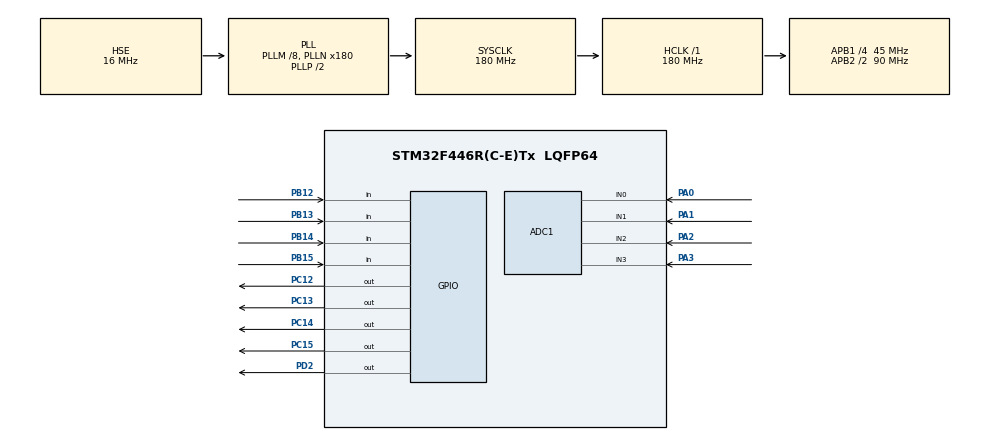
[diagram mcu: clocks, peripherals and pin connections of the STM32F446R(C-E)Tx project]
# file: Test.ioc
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ADC1.Channel-0\#ChannelRegularConversion=ADC_CHANNEL_0
ADC1.Channel-1\#ChannelRegularConversion=ADC_CHANNEL_1
ADC1.Channel-2\#ChannelRegularConversion=ADC_CHANNEL_2
ADC1.Channel-3\#ChannelRegularConversion=ADC_CHANNEL_3
ADC1.ClockPrescaler=ADC_CLOCK_SYNC_PCLK_DIV4
ADC1.DMAContinuousRequests=ENABLE
ADC1.ExternalTrigConv=ADC_EXTERNALTRIGCONV_T8_TRGO
ADC1.NbrOfConversion=4
ADC1.NbrOfConversionFlag=1
ADC1.Rank-0\#ChannelRegularConversion=1
ADC1.Rank-1\#ChannelRegularConversion=2
ADC1.Rank-2\#ChannelRegularConversion=3
ADC1.Rank-3\#ChannelRegularConversion=4
ADC1.SamplingTime-0\#ChannelRegularConversion=ADC_SAMPLETIME_15CYCLES
ADC1.SamplingTime-1\#ChannelRegularConversion=ADC_SAMPLETIME_15CYCLES
ADC1.SamplingTime-2\#ChannelRegularConversion=ADC_SAMPLETIME_15CYCLES
ADC1.SamplingTime-3\#ChannelRegularConversion=ADC_SAMPLETIME_15CYCLES
ADC1.ScanConvMode=ENABLE
ADC1.master=1
Dma.ADC1.0.Direction=DMA_PERIPH_TO_MEMORY
Dma.ADC1.0.FIFOMode=DMA_FIFOMODE_DISABLE
Dma.ADC1.0.Instance=DMA2_Stream0
Dma.ADC1.0.MemDataAlignment=DMA_MDATAALIGN_WORD
Dma.ADC1.0.MemInc=DMA_MINC_ENABLE
Dma.ADC1.0.Mode=DMA_CIRCULAR
Dma.ADC1.0.PeriphDataAlignment=DMA_PDATAALIGN_WORD
Dma.ADC1.0.PeriphInc=DMA_PINC_DISABLE
Dma.ADC1.0.Priority=DMA_PRIORITY_LOW
Dma.Request0=ADC1
Mcu.Family=STM32F4
Mcu.Name=STM32F446R(C-E)Tx
Mcu.Package=LQFP64
NVIC.ADC_IRQn=true\:0\:0\:false\:false\:true\:true\:true\:true
NVIC.DMA2_Stream0_IRQn=true\:0\:0\:false\:false\:true\:false\:true\:true
NVIC.PriorityGroup=NVIC_PRIORITYGROUP_4
NVIC.TIM8_UP_TIM13_IRQn=true\:0\:0\:false\:false\:true\:true\:true\:true
PA0-WKUP.Signal=ADCx_IN0
PA1.Signal=ADCx_IN1
PA13.Mode=Serial_Wire
PA13.Signal=SYS_JTMS-SWDIO
PA14.Mode=Serial_Wire
PA14.Signal=SYS_JTCK-SWCLK
PA2.Signal=ADCx_IN2
PA3.Signal=ADCx_IN3
PB12.Signal=GPIO_Input
PB13.Signal=GPIO_Input
PB14.Signal=GPIO_Input
PB15.Signal=GPIO_Input
PC12.Signal=GPIO_Output
PC13.Signal=GPIO_Output
PC14-OSC32_IN.Signal=GPIO_Output
PC15-OSC32_OUT.Signal=GPIO_Output
PD2.Signal=GPIO_Output
PH0-OSC_IN.Mode=HSE-External-Oscillator
PH0-OSC_IN.Signal=RCC_OSC_IN
PH1-OSC_OUT.Mode=HSE-External-Oscillator
PH1-OSC_OUT.Signal=RCC_OSC_OUT
ProjectManager.HeapSize=0x200
ProjectManager.StackSize=0x400
ProjectManager.TargetToolchain=STM32CubeIDE
RCC.AHBFreq_Value=180000000
RCC.APB1CLKDivider=RCC_HCLK_DIV4
RCC.APB1Freq_Value=45000000
RCC.APB1TimFreq_Value=90000000
RCC.APB2CLKDivider=RCC_HCLK_DIV2
RCC.APB2Freq_Value=90000000
RCC.APB2TimFreq_Value=180000000
RCC.CortexFreq_Value=180000000
RCC.HCLKFreq_Value=180000000
RCC.HSE_VALUE=16000000
RCC.PLLM=8
RCC.PLLN=180
RCC.PLLSourceVirtual=RCC_PLLSOURCE_HSE
RCC.SYSCLKFreq_VALUE=180000000
RCC.SYSCLKSource=RCC_SYSCLKSOURCE_PLLCLK
RCC.USBFreq_Value=180000000
RCC.VCOOutputFreq_Value=360000000
SH.ADCx_IN0.0=ADC1_IN0,IN0
SH.ADCx_IN1.0=ADC1_IN1,IN1
SH.ADCx_IN2.0=ADC1_IN2,IN2
SH.ADCx_IN3.0=ADC1_IN3,IN3
TIM8.Period=10000-1
TIM8.Prescaler=180-1
TIM8.TIM_MasterOutputTrigger=TIM_TRGO_UPDATE
VP_TIM8_VS_ClockSourceINT.Mode=Internal
board=custom

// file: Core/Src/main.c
/* USER CODE BEGIN Header */
/**
 ******************************************************************************
 * @file           : main.c
 * @brief          : Main program body
 ******************************************************************************
 * @attention
 *
 * Copyright (c) 2024 STMicroelectronics.
 * All rights reserved.
 *
 * This software is licensed under terms that can be found in the LICENSE file
 * in the root directory of this software component.
 * If no LICENSE file comes with this software, it is provided AS-IS.
 *
 ******************************************************************************
 */
/* USER CODE END Header */
#include "main.h"
#include "adc.h"
#include "dma.h"
#include "tim.h"
#include "gpio.h"

/* USER CODE BEGIN PV */
uint32_t adcl_buffer[4] = {0, };
uint32_t readPin12 = 100;
uint32_t readPin13 = 100;
uint32_t readPin14 = 100;
uint32_t readPin15 = 100;
//uint32_t hadcl;
/* USER CODE END PV */

void SystemClock_Config(void);

int main(void)
{

	/* MCU Configuration--------------------------------------------------------*/

	/* Reset of all peripherals, Initializes the Flash interface and the Systick. */
	HAL_Init();

	/* Configure the system clock */
	SystemClock_Config();

	/* Initialize all configured peripherals */
	MX_GPIO_Init();
	MX_DMA_Init();
	MX_ADC1_Init();
	MX_TIM8_Init();
	/* USER CODE BEGIN 2 */
	HAL_GPIO_WritePin(GPIOC, GPIO_PIN_12, 1);
	HAL_GPIO_WritePin(GPIOC, GPIO_PIN_13, 1);
	HAL_GPIO_WritePin(GPIOC, GPIO_PIN_14, 1);
	HAL_GPIO_WritePin(GPIOC, GPIO_PIN_15, 1);
	//HAL_TIM_Base_Start_IT(&htim8);
	//HAL_ADC_Start_DMA(&hadcl, adcl_buffer, 4);
	/* USER CODE END 2 */

	/* Infinite loop */
	while (1)
	{

		/* USER CODE BEGIN 3 */
		readPin12 = HAL_GPIO_ReadPin(GPIOB, GPIO_PIN_12);
		readPin13 = HAL_GPIO_ReadPin(GPIOB, GPIO_PIN_13);
		readPin14 = HAL_GPIO_ReadPin(GPIOB, GPIO_PIN_14);
		readPin15 = HAL_GPIO_ReadPin(GPIOB, GPIO_PIN_15);
		if(readPin12 == 0)
		{
			if(readPin13 == 1)
			{
				if(readPin14 == 0)
				{
					if(readPin15 == 1)
					{
						HAL_GPIO_TogglePin(GPIOD, GPIO_PIN_2);
						HAL_Delay(300);
						HAL_GPIO_WritePin(GPIOC, GPIO_PIN_12, 1);
						HAL_GPIO_WritePin(GPIOC, GPIO_PIN_13, 1);
						HAL_GPIO_WritePin(GPIOC, GPIO_PIN_14, 1);
						HAL_GPIO_WritePin(GPIOC, GPIO_PIN_15, 1);
						HAL_GPIO_WritePin(GPIOC, GPIO_PIN_14, 0);
						HAL_Delay(300);
						HAL_GPIO_WritePin(GPIOC, GPIO_PIN_14, 1);
						HAL_Delay(300);
						HAL_GPIO_WritePin(GPIOC, GPIO_PIN_12, 0);
						HAL_Delay(300);
						HAL_GPIO_WritePin(GPIOC, GPIO_PIN_12, 1);
						HAL_Delay(300);
					}
					else if(readPin15 == 0)
					{
						HAL_GPIO_WritePin(GPIOD, GPIO_PIN_2, 0);
						HAL_GPIO_WritePin(GPIOC, GPIO_PIN_12, 1);
						HAL_GPIO_WritePin(GPIOC, GPIO_PIN_13, 1);
						HAL_GPIO_WritePin(GPIOC, GPIO_PIN_14, 1);
						HAL_GPIO_WritePin(GPIOC, GPIO_PIN_15, 1);
						HAL_GPIO_WritePin(GPIOC, GPIO_PIN_14, 0);
						HAL_Delay(300);
						HAL_GPIO_WritePin(GPIOC, GPIO_PIN_14, 1);
						HAL_Delay(300);
						HAL_GPIO_WritePin(GPIOC, GPIO_PIN_12, 0);
						HAL_Delay(300);
						HAL_GPIO_WritePin(GPIOC, GPIO_PIN_12, 1);
						HAL_Delay(300);
					}

				}
				else if(readPin14 == 1)
				{
					if(readPin15 == 1)
					{
						HAL_GPIO_TogglePin(GPIOD, GPIO_PIN_2);
						HAL_Delay(300);
						HAL_GPIO_WritePin(GPIOC, GPIO_PIN_15, 0);
						HAL_Delay(300);
						HAL_GPIO_WritePin(GPIOC, GPIO_PIN_15, 1);
						HAL_Delay(300);
						HAL_GPIO_WritePin(GPIOC, GPIO_PIN_14, 0);
						HAL_Delay(300);
						HAL_GPIO_WritePin(GPIOC, GPIO_PIN_14, 1);
						HAL_Delay(300);
						HAL_GPIO_WritePin(GPIOC, GPIO_PIN_13, 0);
						HAL_Delay(300);
						HAL_GPIO_WritePin(GPIOC, GPIO_PIN_13, 1);
						HAL_Delay(300);
						HAL_GPIO_WritePin(GPIOC, GPIO_PIN_12, 0);
						HAL_Delay(300);
						HAL_GPIO_WritePin(GPIOC, GPIO_PIN_12, 1);
						HAL_Delay(300);
					}
					else if(readPin15 == 0)
					{
						HAL_GPIO_WritePin(GPIOD, GPIO_PIN_2, 0);
						HAL_GPIO_WritePin(GPIOC, GPIO_PIN_15, 0);
						HAL_Delay(300);
						HAL_GPIO_WritePin(GPIOC, GPIO_PIN_15, 1);
						HAL_Delay(300);
						HAL_GPIO_WritePin(GPIOC, GPIO_PIN_14, 0);
						HAL_Delay(300);
						HAL_GPIO_WritePin(GPIOC, GPIO_PIN_14, 1);
						HAL_Delay(300);
						HAL_GPIO_WritePin(GPIOC, GPIO_PIN_13, 0);
						HAL_Delay(300);
						HAL_GPIO_WritePin(GPIOC, GPIO_PIN_13, 1);
						HAL_Delay(300);
						HAL_GPIO_WritePin(GPIOC, GPIO_PIN_12, 0);
						HAL_Delay(300);
						HAL_GPIO_WritePin(GPIOC, GPIO_PIN_12, 1);
						HAL_Delay(300);
					}

				}
			}
			else if(readPin13 == 0)
			{
				if(readPin14 == 0)
				{
					if(readPin15 == 1)
					{
						HAL_GPIO_TogglePin(GPIOD, GPIO_PIN_2);
						HAL_Delay(300);
						HAL_GPIO_WritePin(GPIOC, GPIO_PIN_12, 0);
						HAL_GPIO_WritePin(GPIOC, GPIO_PIN_13, 0);
						HAL_GPIO_WritePin(GPIOC, GPIO_PIN_14, 0);
						HAL_GPIO_WritePin(GPIOC, GPIO_PIN_15, 0);
						HAL_GPIO_WritePin(GPIOC, GPIO_PIN_14, 1);
						HAL_Delay(300);
						HAL_GPIO_WritePin(GPIOC, GPIO_PIN_14, 0);
						HAL_Delay(300);
						HAL_GPIO_WritePin(GPIOC, GPIO_PIN_12, 1);
						HAL_Delay(300);
						HAL_GPIO_WritePin(GPIOC, GPIO_PIN_12, 0);
						HAL_Delay(300);
					}
					else if(readPin15 == 0)
					{
						HAL_GPIO_WritePin(GPIOD, GPIO_PIN_2, 0);
						HAL_GPIO_WritePin(GPIOC, GPIO_PIN_12, 0);
						HAL_GPIO_WritePin(GPIOC, GPIO_PIN_13, 0);
						HAL_GPIO_WritePin(GPIOC, GPIO_PIN_14, 0);
						HAL_GPIO_WritePin(GPIOC, GPIO_PIN_15, 0);
						HAL_GPIO_WritePin(GPIOC, GPIO_PIN_14, 1);
						HAL_Delay(300);
						HAL_GPIO_WritePin(GPIOC, GPIO_PIN_14, 0);
						HAL_Delay(300);
						HAL_GPIO_WritePin(GPIOC, GPIO_PIN_12, 1);
						HAL_Delay(300);
						HAL_GPIO_WritePin(GPIOC, GPIO_PIN_12, 0);
						HAL_Delay(300);
					}

				}
				else if(readPin14 == 1)
				{
					if(readPin15 == 1)
					{
						HAL_GPIO_TogglePin(GPIOD, GPIO_PIN_2);
						HAL_Delay(300);
						HAL_GPIO_WritePin(GPIOC, GPIO_PIN_15, 1);
						HAL_Delay(300);
						HAL_GPIO_WritePin(GPIOC, GPIO_PIN_15, 0);
						HAL_Delay(300);
						HAL_GPIO_WritePin(GPIOC, GPIO_PIN_14, 1);
						HAL_Delay(300);
						HAL_GPIO_WritePin(GPIOC, GPIO_PIN_14, 0);
						HAL_Delay(300);
						HAL_GPIO_WritePin(GPIOC, GPIO_PIN_13, 1);
						HAL_Delay(300);
						HAL_GPIO_WritePin(GPIOC, GPIO_PIN_13, 0);
						HAL_Delay(300);
						HAL_GPIO_WritePin(GPIOC, GPIO_PIN_12, 1);
						HAL_Delay(300);
						HAL_GPIO_WritePin(GPIOC, GPIO_PIN_12, 0);
						HAL_Delay(300);
					}
					else if(readPin15 == 0)
					{
						HAL_GPIO_WritePin(GPIOD, GPIO_PIN_2, 0);
						HAL_GPIO_WritePin(GPIOC, GPIO_PIN_15, 1);
						HAL_Delay(300);
						HAL_GPIO_WritePin(GPIOC, GPIO_PIN_15, 0);
						HAL_Delay(300);
						HAL_GPIO_WritePin(GPIOC, GPIO_PIN_14, 1);
						HAL_Delay(300);
						HAL_GPIO_WritePin(GPIOC, GPIO_PIN_14, 0);
						HAL_Delay(300);
						HAL_GPIO_WritePin(GPIOC, GPIO_PIN_13, 1);
						HAL_Delay(300);
						HAL_GPIO_WritePin(GPIOC, GPIO_PIN_13, 0);
						HAL_Delay(300);
						HAL_GPIO_WritePin(GPIOC, GPIO_PIN_12, 1);
						HAL_Delay(300);
						HAL_GPIO_WritePin(GPIOC, GPIO_PIN_12, 0);
						HAL_Delay(300);
					}

				}

			}

		}
		else if(readPin12 == 1)
		{
			if(readPin13 == 1)
			{
				if(readPin14 == 0)
				{
					if(readPin15 == 1)
					{
						HAL_GPIO_TogglePin(GPIOD, GPIO_PIN_2);
						HAL_Delay(300);
						HAL_GPIO_WritePin(GPIOD, GPIO_PIN_2, 1);
						HAL_GPIO_WritePin(GPIOC, GPIO_PIN_12, 1);
						HAL_GPIO_WritePin(GPIOC, GPIO_PIN_13, 1);
						HAL_GPIO_WritePin(GPIOC, GPIO_PIN_14, 1);
						HAL_GPIO_WritePin(GPIOC, GPIO_PIN_15, 1);
						HAL_GPIO_WritePin(GPIOC, GPIO_PIN_12, 0);
						HAL_Delay(300);
						HAL_GPIO_WritePin(GPIOC, GPIO_PIN_12, 1);
						HAL_Delay(300);
						HAL_GPIO_WritePin(GPIOC, GPIO_PIN_14, 0);
						HAL_Delay(300);
						HAL_GPIO_WritePin(GPIOC, GPIO_PIN_14, 1);
						HAL_Delay(300);
					}
					else if(readPin15 == 0)
					{
						HAL_GPIO_WritePin(GPIOD, GPIO_PIN_2, 0);
						HAL_GPIO_WritePin(GPIOC, GPIO_PIN_12, 1);
						HAL_GPIO_WritePin(GPIOC, GPIO_PIN_13, 1);
						HAL_GPIO_WritePin(GPIOC, GPIO_PIN_14, 1);
						HAL_GPIO_WritePin(GPIOC, GPIO_PIN_15, 1);
						HAL_GPIO_WritePin(GPIOC, GPIO_PIN_12, 0);
						HAL_Delay(300);
						HAL_GPIO_WritePin(GPIOC, GPIO_PIN_12, 1);
						HAL_Delay(300);
						HAL_GPIO_WritePin(GPIOC, GPIO_PIN_14, 0);
						HAL_Delay(300);
						HAL_GPIO_WritePin(GPIOC, GPIO_PIN_14, 1);
						HAL_Delay(300);
					}

				}
				else if(readPin14 == 1)
				{
					if(readPin15 == 1)
					{
						HAL_GPIO_TogglePin(GPIOD, GPIO_PIN_2);
						HAL_Delay(300);
						HAL_GPIO_WritePin(GPIOD, GPIO_PIN_2, 1);
						HAL_GPIO_WritePin(GPIOC, GPIO_PIN_12, 0);
						HAL_Delay(300);
						HAL_GPIO_WritePin(GPIOC, GPIO_PIN_12, 1);
						HAL_Delay(300);
						HAL_GPIO_WritePin(GPIOC, GPIO_PIN_13, 0);
						HAL_Delay(300);
						HAL_GPIO_WritePin(GPIOC, GPIO_PIN_13, 1);
						HAL_Delay(300);
						HAL_GPIO_WritePin(GPIOC, GPIO_PIN_14, 0);
						HAL_Delay(300);
						HAL_GPIO_WritePin(GPIOC, GPIO_PIN_14, 1);
						HAL_Delay(300);
						HAL_GPIO_WritePin(GPIOC, GPIO_PIN_15, 0);
						HAL_Delay(300);
						HAL_GPIO_WritePin(GPIOC, GPIO_PIN_15, 1);
						HAL_Delay(300);
					}
					else if(readPin15 == 0)
					{
						HAL_GPIO_WritePin(GPIOD, GPIO_PIN_2, 0);
						HAL_GPIO_WritePin(GPIOC, GPIO_PIN_12, 0);
						HAL_Delay(300);
						HAL_GPIO_WritePin(GPIOC, GPIO_PIN_12, 1);
						HAL_Delay(300);
						HAL_GPIO_WritePin(GPIOC, GPIO_PIN_13, 0);
						HAL_Delay(300);
						HAL_GPIO_WritePin(GPIOC, GPIO_PIN_13, 1);
						HAL_Delay(300);
						HAL_GPIO_WritePin(GPIOC, GPIO_PIN_14, 0);
						HAL_Delay(300);
						HAL_GPIO_WritePin(GPIOC, GPIO_PIN_14, 1);
						HAL_Delay(300);
						HAL_GPIO_WritePin(GPIOC, GPIO_PIN_15, 0);
						HAL_Delay(300);
						HAL_GPIO_WritePin(GPIOC, GPIO_PIN_15, 1);
						HAL_Delay(300);
					}

				}

			}
			else if(readPin13 == 0)
			{
				if(readPin14 == 0)
				{
					if(readPin15 == 1)
					{
						HAL_GPIO_TogglePin(GPIOD, GPIO_PIN_2);
						HAL_Delay(300);
						HAL_GPIO_WritePin(GPIOC, GPIO_PIN_12, 0);
						HAL_GPIO_WritePin(GPIOC, GPIO_PIN_13, 0);
						HAL_GPIO_WritePin(GPIOC, GPIO_PIN_14, 0);
						HAL_GPIO_WritePin(GPIOC, GPIO_PIN_15, 0);
						HAL_GPIO_WritePin(GPIOC, GPIO_PIN_12, 1);
						HAL_Delay(300);
						HAL_GPIO_WritePin(GPIOC, GPIO_PIN_12, 0);
						HAL_Delay(300);
						HAL_GPIO_WritePin(GPIOC, GPIO_PIN_14, 1);
						HAL_Delay(300);
						HAL_GPIO_WritePin(GPIOC, GPIO_PIN_14, 0);
						HAL_Delay(300);
					}
					else if(readPin15 == 0)
					{
						HAL_GPIO_WritePin(GPIOD, GPIO_PIN_2, 0);
						HAL_GPIO_WritePin(GPIOC, GPIO_PIN_12, 0);
						HAL_GPIO_WritePin(GPIOC, GPIO_PIN_13, 0);
						HAL_GPIO_WritePin(GPIOC, GPIO_PIN_14, 0);
						HAL_GPIO_WritePin(GPIOC, GPIO_PIN_15, 0);
						HAL_GPIO_WritePin(GPIOC, GPIO_PIN_12, 1);
						HAL_Delay(300);
						HAL_GPIO_WritePin(GPIOC, GPIO_PIN_12, 0);
						HAL_Delay(300);
						HAL_GPIO_WritePin(GPIOC, GPIO_PIN_14, 1);
						HAL_Delay(300);
						HAL_GPIO_WritePin(GPIOC, GPIO_PIN_14, 0);
						HAL_Delay(300);
					}

				}
				else if(readPin14 == 1)
				{
					if(readPin15 == 1)
					{
						HAL_GPIO_TogglePin(GPIOD, GPIO_PIN_2);
						HAL_Delay(300);
						HAL_GPIO_WritePin(GPIOC, GPIO_PIN_12, 1);
						HAL_Delay(300);
						HAL_GPIO_WritePin(GPIOC, GPIO_PIN_12, 0);
						HAL_Delay(300);
						HAL_GPIO_WritePin(GPIOC, GPIO_PIN_13, 1);
						HAL_Delay(300);
						HAL_GPIO_WritePin(GPIOC, GPIO_PIN_13, 0);
						HAL_Delay(300);
						HAL_GPIO_WritePin(GPIOC, GPIO_PIN_14, 1);
						HAL_Delay(300);
						HAL_GPIO_WritePin(GPIOC, GPIO_PIN_14, 0);
						HAL_Delay(300);
						HAL_GPIO_WritePin(GPIOC, GPIO_PIN_15, 1);
						HAL_Delay(300);
						HAL_GPIO_WritePin(GPIOC, GPIO_PIN_15, 0);
						HAL_Delay(300);
					}
					else if(readPin15 == 0)
					{
						HAL_GPIO_WritePin(GPIOD, GPIO_PIN_2, 0);
						HAL_GPIO_WritePin(GPIOC, GPIO_PIN_12, 1);
						HAL_Delay(300);
						HAL_GPIO_WritePin(GPIOC, GPIO_PIN_12, 0);
						HAL_Delay(300);
						HAL_GPIO_WritePin(GPIOC, GPIO_PIN_13, 1);
						HAL_Delay(300);
						HAL_GPIO_WritePin(GPIOC, GPIO_PIN_13, 0);
						HAL_Delay(300);
						HAL_GPIO_WritePin(GPIOC, GPIO_PIN_14, 1);
						HAL_Delay(300);
						HAL_GPIO_WritePin(GPIOC, GPIO_PIN_14, 0);
						HAL_Delay(300);
						HAL_GPIO_WritePin(GPIOC, GPIO_PIN_15, 1);
						HAL_Delay(300);
						HAL_GPIO_WritePin(GPIOC, GPIO_PIN_15, 0);
						HAL_Delay(300);
					}

				}

			}
		}
	}
	/* USER CODE END 3 */
}

void SystemClock_Config(void)
{
	RCC_OscInitTypeDef RCC_OscInitStruct = {0};
	RCC_ClkInitTypeDef RCC_ClkInitStruct = {0};

	/** Configure the main internal regulator output voltage
	 */
	__HAL_RCC_PWR_CLK_ENABLE();
	__HAL_PWR_VOLTAGESCALING_CONFIG(PWR_REGULATOR_VOLTAGE_SCALE1);

	/** Initializes the RCC Oscillators according to the specified parameters
	 * in the RCC_OscInitTypeDef structure.
	 */
	RCC_OscInitStruct.OscillatorType = RCC_OSCILLATORTYPE_HSE;
	RCC_OscInitStruct.HSEState = RCC_HSE_ON;
	RCC_OscInitStruct.PLL.PLLState = RCC_PLL_ON;
	RCC_OscInitStruct.PLL.PLLSource = RCC_PLLSOURCE_HSE;
	RCC_OscInitStruct.PLL.PLLM = 8;
	RCC_OscInitStruct.PLL.PLLN = 180;
	RCC_OscInitStruct.PLL.PLLP = RCC_PLLP_DIV2;
	RCC_OscInitStruct.PLL.PLLQ = 2;
	RCC_OscInitStruct.PLL.PLLR = 2;
	if (HAL_RCC_OscConfig(&RCC_OscInitStruct) != HAL_OK)
	{
		Error_Handler();
	}

	/** Activate the Over-Drive mode
	 */
	if (HAL_PWREx_EnableOverDrive() != HAL_OK)
	{
		Error_Handler();
	}

	/** Initializes the CPU, AHB and APB buses clocks
	 */
	RCC_ClkInitStruct.ClockType = RCC_CLOCKTYPE_HCLK|RCC_CLOCKTYPE_SYSCLK
			|RCC_CLOCKTYPE_PCLK1|RCC_CLOCKTYPE_PCLK2;
	RCC_ClkInitStruct.SYSCLKSource = RCC_SYSCLKSOURCE_PLLCLK;
	RCC_ClkInitStruct.AHBCLKDivider = RCC_SYSCLK_DIV1;
	RCC_ClkInitStruct.APB1CLKDivider = RCC_HCLK_DIV4;
	RCC_ClkInitStruct.APB2CLKDivider = RCC_HCLK_DIV2;

	if (HAL_RCC_ClockConfig(&RCC_ClkInitStruct, FLASH_LATENCY_5) != HAL_OK)
	{
		Error_Handler();
	}
}

/* USER CODE BEGIN 4 */
//void HAL_ADC_ConvCpltCallback(ADC_HandleTypeDef* hadc)
//{
//   if(hadc->Instance==hadcl.Instance)
//   {
//
//   }
//}
/* USER CODE END 4 */

void Error_Handler(void)
{
	__disable_irq();
	while (1)
	{
	}
}
